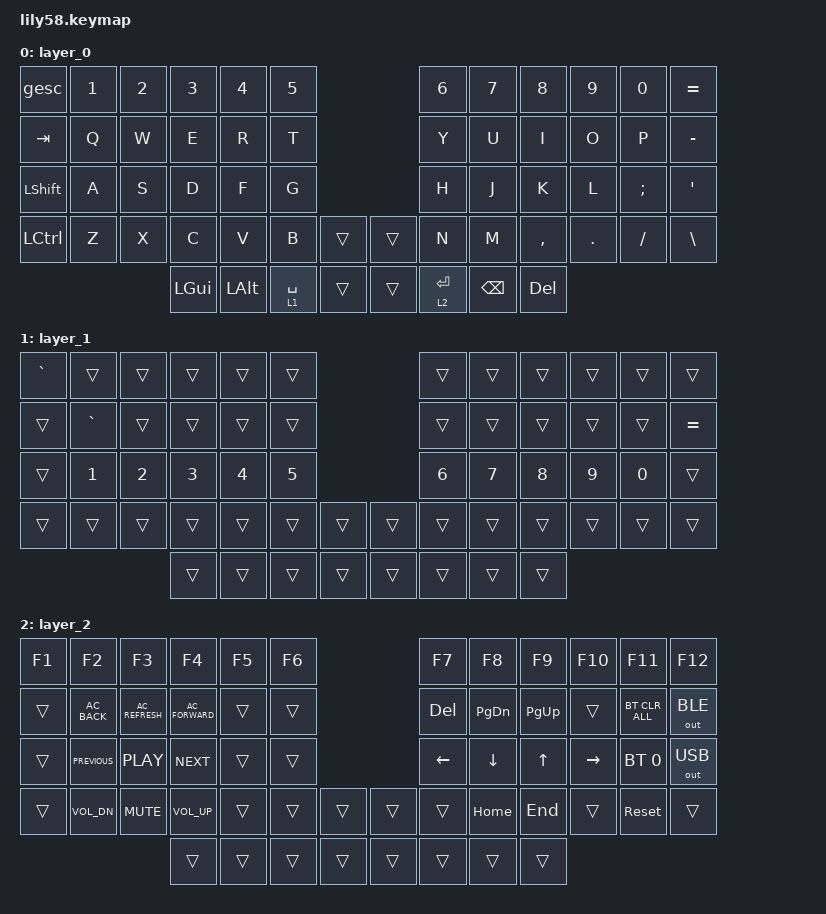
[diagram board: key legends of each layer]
#include <behaviors.dtsi>
#include <dt-bindings/zmk/bt.h>
#include <dt-bindings/zmk/keys.h>
#include <dt-bindings/zmk/outputs.h>
#include <dt-bindings/zmk/reset.h>

/ {
    behaviors {
        gesc: tilde_escape {
            compatible = "zmk,behavior-mod-morph";
            #binding-cells = <0>;
            bindings = <&kp ESC>, <&kp TILDE>;

            mods = <(MOD_LSFT|MOD_RSFT)>;
        };
    };

    macros {
        fcitx: fcitx {
            compatible = "zmk,behavior-macro";
            #binding-cells = <0>;
            bindings =
                <&macro_press>,
                <&kp LCTRL>,
                <&macro_tap>,
                <&kp SPACE>,
                <&macro_release>,
                <&kp LCTRL>;

            label = "FCITX";
        };

        new_line: new_line {
            compatible = "zmk,behavior-macro";
            #binding-cells = <0>;
            bindings = <&kp DOUBLE_QUOTES &kp BACKSLASH &kp N &kp DOUBLE_QUOTES>;
            label = "NEW_LINE";
        };

        arrow: arrow {
            compatible = "zmk,behavior-macro";
            #binding-cells = <0>;
            bindings = <&kp MINUS &kp GREATER_THAN>;
            label = "ARROW";
        };
    };

    combos {
        compatible = "zmk,combos";

        fcitx {
            bindings = <&fcitx>;
            key-positions = <32 33>;
        };

        new_line {
            bindings = <&new_line>;
            key-positions = <33 34>;
        };

        arrow {
            bindings = <&arrow>;
            key-positions = <46 47>;
        };

        lbkt {
            bindings = <&kp LBKT>;
            key-positions = <19 20>;
        };

        rbkt {
            bindings = <&kp RBKT>;
            key-positions = <20 21>;
        };
    };

    keymap {
        compatible = "zmk,keymap";

        layer_0 {
            bindings = <
&gesc      &kp N1  &kp N2  &kp N3    &kp N4    &kp N5                         &kp N6       &kp N7    &kp N8      &kp N9   &kp N0    &kp EQUAL
&kp TAB    &kp Q   &kp W   &kp E     &kp R     &kp T                          &kp Y        &kp U     &kp I       &kp O    &kp P     &kp MINUS
&kp LSHFT  &kp A   &kp S   &kp D     &kp F     &kp G                          &kp H        &kp J     &kp K       &kp L    &kp SEMI  &kp SQT
&kp LCTRL  &kp Z   &kp X   &kp C     &kp V     &kp B        &trans    &trans  &kp N        &kp M     &kp COMMA   &kp DOT  &kp FSLH  &kp BSLH
                           &kp LGUI  &kp LALT  &lt 1 SPACE  &trans    &trans  &lt 2 ENTER  &kp BSPC  &kp DELETE
            >;
        };

        layer_1 {
            bindings = <
&kp GRAVE  &trans     &trans  &trans  &trans  &trans                    &trans  &trans  &trans  &trans  &trans  &trans
&trans     &kp GRAVE  &trans  &trans  &trans  &trans                    &trans  &trans  &trans  &trans  &trans  &kp EQUAL
&trans     &kp N1     &kp N2  &kp N3  &kp N4  &kp N5                    &kp N6  &kp N7  &kp N8  &kp N9  &kp N0  &trans
&trans     &trans     &trans  &trans  &trans  &trans  &trans    &trans  &trans  &trans  &trans  &trans  &trans  &trans
                              &trans  &trans  &trans  &trans    &trans  &trans  &trans  &trans
            >;
        };

        layer_2 {
            bindings = <
&kp F1  &kp F2          &kp F3            &kp F4            &kp F5  &kp F6                    &kp F7    &kp F8         &kp F9        &kp F10    &kp F11         &kp F12
&trans  &kp C_AC_BACK   &kp C_AC_REFRESH  &kp C_AC_FORWARD  &trans  &trans                    &kp DEL   &kp PAGE_DOWN  &kp PG_UP     &trans     &bt BT_CLR_ALL  &out OUT_BLE
&trans  &kp C_PREVIOUS  &kp C_PLAY        &kp C_NEXT        &trans  &trans                    &kp LEFT  &kp DOWN       &kp UP_ARROW  &kp RIGHT  &bt BT_SEL 0    &out OUT_USB
&trans  &kp C_VOL_DN    &kp C_MUTE        &kp C_VOL_UP      &trans  &trans  &trans    &trans  &trans    &kp HOME       &kp END       &trans     &sys_reset      &trans
                                          &trans            &trans  &trans  &trans    &trans  &trans    &trans         &trans
            >;
        };
    };
};

